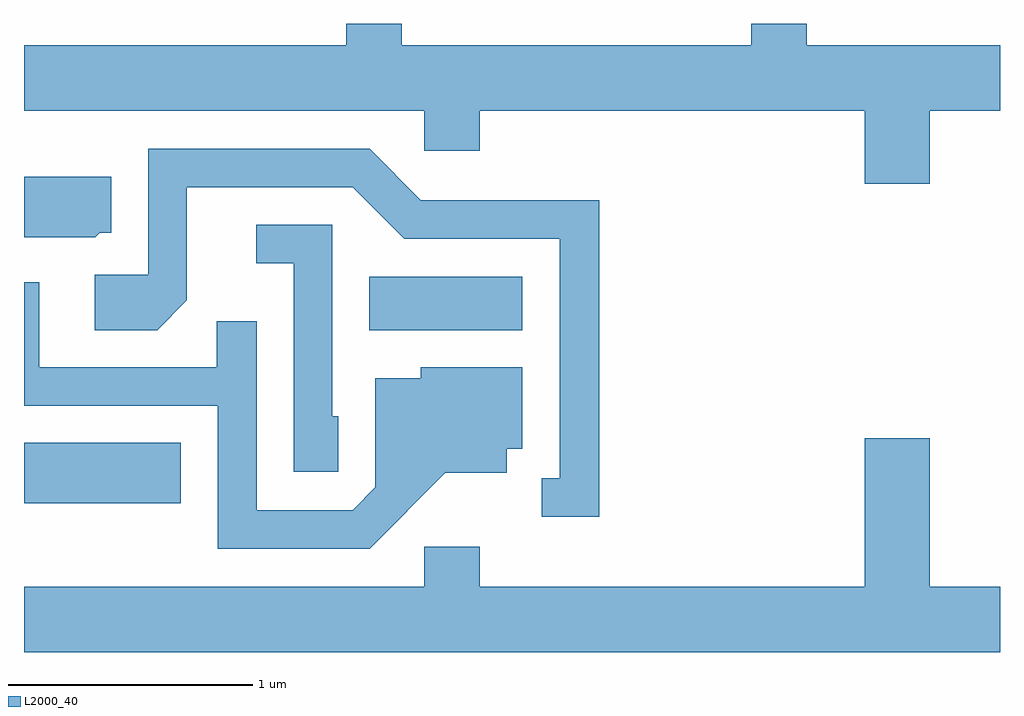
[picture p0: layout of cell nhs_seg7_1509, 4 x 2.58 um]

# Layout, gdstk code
import gdstk
lib = gdstk.Library(unit=1e-6, precision=1e-09)
def R(c, l, rs):  # rectangles x0, y0, x1, y1
    for r in rs: c.add(gdstk.rectangle(r[:2], r[2:], *l))
def P(c, l, *ps):  # polygons
    for p in ps: c.add(gdstk.Polygon(p, *l))
L2000_40 = (2000, 40)

nhs_seg7_1509 = lib.new_cell('nhs_seg7_1509')
R(nhs_seg7_1509, L2000_40, [(231.611,1688.286,232.254,1688.534), (233.026,1688.996,233.654,1689.214)])
P(nhs_seg7_1509, L2000_40, [(235.324,1689.896),(235.611,1689.896),(235.611,1690.164),(234.819,1690.164),(234.819,1690.252),(234.591,1690.252),(234.591,1690.164),(233.159,1690.164),(233.159,1690.252),(232.931,1690.252),(232.931,1690.164),(231.611,1690.164),(231.611,1689.896),(233.251,1689.896),(233.251,1689.731),(233.479,1689.731),(233.479,1689.896),(235.056,1689.896),(235.056,1689.596),(235.324,1689.596)],
  [(233.969,1689.529),(233.237,1689.529),(233.027,1689.739),(232.121,1689.739),(232.121,1689.224),(231.901,1689.224),(231.901,1688.996),(232.157,1688.996),(232.279,1689.119),(232.279,1689.581),(232.959,1689.581),(233.169,1689.371),(233.806,1689.371),(233.806,1688.389),(233.733,1688.389),(233.733,1688.231),(233.969,1688.231)],
  [(231.922,1689.396),(231.969,1689.396),(231.969,1689.624),(231.611,1689.624),(231.611,1689.376),(231.902,1689.376)],
  [(232.899,1688.644),(232.874,1688.644),(232.874,1689.429),(232.563,1689.429),(232.563,1689.271),(232.716,1689.271),(232.716,1688.416),(232.899,1688.416)],
  [(233.337,1688.411),(233.589,1688.411),(233.589,1688.511),(233.654,1688.511),(233.654,1688.844),(233.236,1688.844),(233.236,1688.799),(233.051,1688.799),(233.051,1688.352),(232.959,1688.259),(232.564,1688.259),(232.564,1689.033),(232.401,1689.033),(232.401,1688.844),(231.674,1688.844),(231.674,1689.193),(231.611,1689.193),(231.611,1688.686),(232.406,1688.686),(232.406,1688.101),(233.027,1688.101)],
  [(235.611,1687.944),(235.324,1687.944),(235.324,1688.554),(235.056,1688.554),(235.056,1687.944),(233.479,1687.944),(233.479,1688.109),(233.251,1688.109),(233.251,1687.944),(231.611,1687.944),(231.611,1687.676),(235.611,1687.676)])

lib.write_gds('nhs_seg7_1509.gds')
